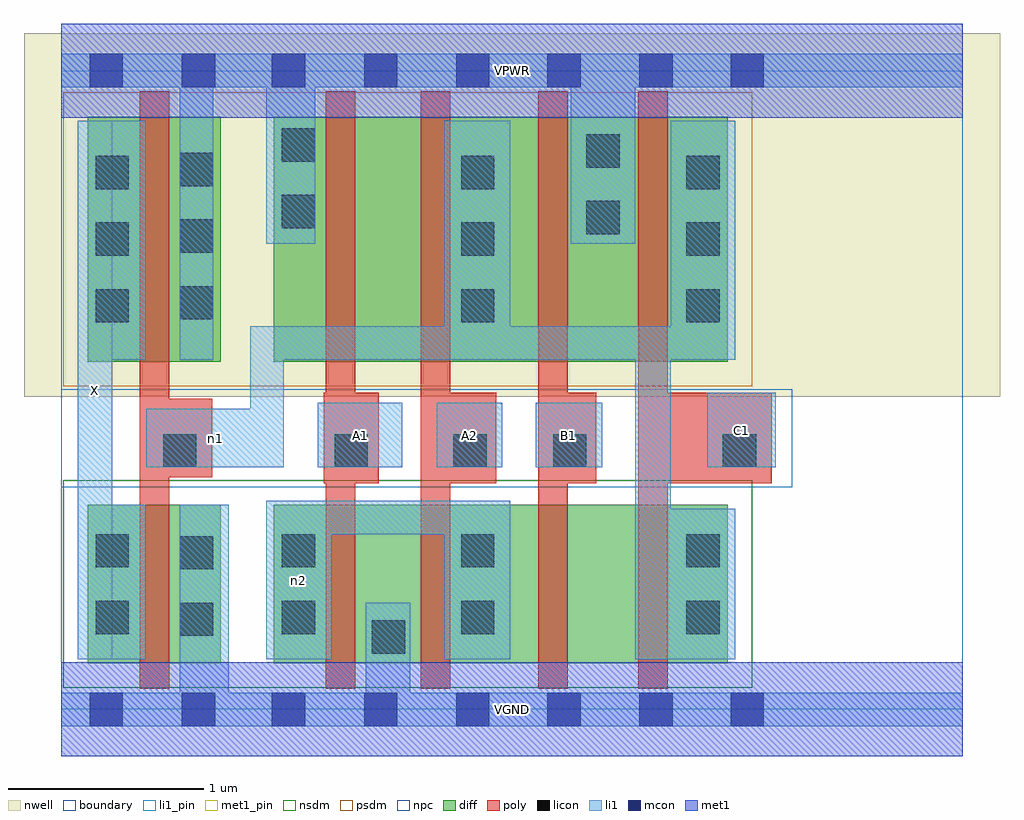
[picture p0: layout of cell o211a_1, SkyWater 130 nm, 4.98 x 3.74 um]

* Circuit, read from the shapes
.subckt o211a_1 A1 A2 B1 C1 VGND VPWR X n1 n2
XM1 VGND n1 X VSUBS sky130_fd_pr__nfet_01v8 w=0.81 l=0.15
XM2 VGND A1 n2 VSUBS sky130_fd_pr__nfet_01v8 w=0.81 l=0.15
XM3 n2 A2 VGND VSUBS sky130_fd_pr__nfet_01v8 w=0.81 l=0.15
XM4 n3 B1 n2 VSUBS sky130_fd_pr__nfet_01v8 w=0.81 l=0.15
XM5 n1 C1 n3 VSUBS sky130_fd_pr__nfet_01v8 w=0.81 l=0.15
XM6 VPWR n1 X n4 sky130_fd_pr__pfet_01v8 w=1.25 l=0.15
XM7 n5 A1 VPWR n4 sky130_fd_pr__pfet_01v8 w=1.25 l=0.15
XM8 n1 A2 n5 n4 sky130_fd_pr__pfet_01v8 w=1.25 l=0.15
XM9 VPWR B1 n1 n4 sky130_fd_pr__pfet_01v8 w=1.25 l=0.15
XM10 n1 C1 VPWR n4 sky130_fd_pr__pfet_01v8 w=1.25 l=0.15
.ends

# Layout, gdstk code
import gdstk
lib = gdstk.Library(unit=1e-6, precision=1e-09)
def R(c, l, rs):  # rectangles x0, y0, x1, y1
    for r in rs: c.add(gdstk.rectangle(r[:2], r[2:], *l))
def A(c, l, x, y, w, h, nx, ny, dx, dy):  # array of equal rectangles
    R(c, l, [(x+i*dx, y+j*dy, x+i*dx+w, y+j*dy+h) for i in range(nx) for j in range(ny)])
nwell = (64, 20)
diff = (65, 20)
poly = (66, 20)
licon = (66, 44)
li1_pin = (67, 16)
li1 = (67, 20)
mcon = (67, 44)
met1_pin = (68, 16)
met1 = (68, 20)
nsdm = (93, 44)
psdm = (94, 20)
npc = (95, 20)
boundary = (235, 4)

o211a_1 = lib.new_cell('o211a_1')
R(o211a_1, nwell, [(-0.19,1.595,4.79,3.45), (0,1.595,4.6,3.45)])
R(o211a_1, diff, [(0.135,0.235,0.815,1.045), (1.085,0.235,3.4,1.045), (0.135,1.775,0.815,3.025), (1.085,1.775,3.4,3.025)])
R(o211a_1, poly, [(0.4,0.105,0.55,3.155), (1.35,0.105,1.5,3.155), (1.835,0.105,1.985,3.155), (2.435,0.105,2.585,3.155), (2.945,0.105,3.095,3.155), (1.34,1.155,1.62,1.615), (1.835,1.155,2.22,1.615), (2.435,1.155,2.73,1.615), (2.945,1.155,3.625,1.615), (0.4,1.185,0.77,1.585)])
A(o211a_1, licon, 0.175, 1.975, 0.17, 0.17, 1, 3, 0, 0.34)
A(o211a_1, licon, 2.04, 1.975, 0.17, 0.17, 1, 3, 0, 0.34)
A(o211a_1, licon, 3.19, 1.975, 0.17, 0.17, 1, 3, 0, 0.34)
A(o211a_1, licon, 0.605, 1.99, 0.17, 0.17, 1, 3, 0, 0.34)
R(o211a_1, licon, [(1.585,0.285,1.755,0.455), (0.605,0.375,0.775,0.545), (0.175,0.385,0.345,0.555), (1.125,0.385,1.295,0.555), (2.04,0.385,2.21,0.555), (3.19,0.385,3.36,0.555), (0.605,0.715,0.775,0.885), (0.175,0.725,0.345,0.895), (1.125,0.725,1.295,0.895), (2.04,0.725,2.21,0.895), (3.19,0.725,3.36,0.895), (0.52,1.235,0.69,1.405), (1.395,1.235,1.565,1.405), (2,1.235,2.17,1.405), (2.51,1.235,2.68,1.405), (3.375,1.235,3.545,1.405), (2.68,2.425,2.85,2.595), (1.125,2.455,1.295,2.625), (2.68,2.765,2.85,2.935), (1.125,2.795,1.295,2.965)])
R(o211a_1, li1_pin, [(0.085,0.255,0.26,3.005), (1.31,1.235,1.74,1.565), (1.915,1.235,2.25,1.565), (2.42,1.235,2.76,1.565), (3.295,1.235,3.645,1.615)])
R(o211a_1, li1, [(0,-0.085,4.6,0.085), (0.605,-0.085,0.855,1.045), (1.555,-0.085,1.78,0.545), (0.085,0.255,0.26,3.005), (0.085,0.255,0.43,1.045), (1.045,0.255,1.38,1.065), (1.955,0.255,2.29,1.065), (2.93,0.255,3.44,1.025), (2.93,0.255,3.11,1.955), (1.045,0.895,2.29,1.065), (0.435,1.235,1.135,1.535), (0.965,1.235,1.135,1.955), (1.31,1.235,1.74,1.565), (1.915,1.235,2.25,1.565), (2.42,1.235,2.76,1.565), (3.295,1.235,3.645,1.615), (0.085,1.785,0.43,3.005), (0.605,1.785,0.775,3.345), (0.965,1.785,3.44,1.955), (1.955,1.785,2.29,3.005), (3.11,1.785,3.44,3.005), (1.045,2.375,1.295,3.345), (2.6,2.375,2.93,3.345), (0,3.175,4.6,3.345)])
A(o211a_1, mcon, 1.075, -0.085, 0.17, 0.17, 3, 2, 0.47, 3.26)
R(o211a_1, mcon, [(0.145,-0.085,0.315,0.085), (0.615,-0.085,0.785,0.085), (2.48,-0.085,2.65,0.085), (2.95,-0.085,3.12,0.085), (3.415,-0.085,3.585,0.085), (0.145,3.175,0.315,3.345), (0.615,3.175,0.785,3.345), (2.48,3.175,2.65,3.345), (2.95,3.175,3.12,3.345), (3.415,3.175,3.585,3.345)])
R(o211a_1, met1_pin, [(0,-0.24,4.6,0.24), (0,3.02,4.6,3.5)])
R(o211a_1, met1, [(0,-0.24,4.6,0.24), (0,3.02,4.6,3.5)])
R(o211a_1, nsdm, [(0.01,0.11,3.525,1.17)])
R(o211a_1, psdm, [(0.01,1.65,3.525,3.15)])
R(o211a_1, npc, [(0,1.135,3.73,1.635)])
R(o211a_1, boundary, [(0,0,4.6,3.26)])
o211a_1.add(gdstk.Label('A1', (1.525,1.4), layer=67, texttype=5))
o211a_1.add(gdstk.Label('A2', (2.082,1.4), layer=67, texttype=5))
o211a_1.add(gdstk.Label('B1', (2.59,1.4), layer=67, texttype=5))
o211a_1.add(gdstk.Label('C1', (3.47,1.425), layer=67, texttype=5))
o211a_1.add(gdstk.Label('X', (0.172,1.63), layer=67, texttype=5))
o211a_1.add(gdstk.Label('n2', (1.212,0.66), layer=67, texttype=5))
o211a_1.add(gdstk.Label('n1', (0.785,1.385), layer=67, texttype=5))
o211a_1.add(gdstk.Label('VPWR', (2.3,3.26), layer=68, texttype=5))
o211a_1.add(gdstk.Label('VGND', (2.3,0), layer=68, texttype=5))
o211a_1.add(gdstk.Label('A1', (1.525,1.4), layer=67, texttype=16))
o211a_1.add(gdstk.Label('A2', (2.082,1.4), layer=67, texttype=16))
o211a_1.add(gdstk.Label('B1', (2.59,1.4), layer=67, texttype=16))
o211a_1.add(gdstk.Label('C1', (3.47,1.425), layer=67, texttype=16))
o211a_1.add(gdstk.Label('X', (0.172,1.63), layer=67, texttype=16))
o211a_1.add(gdstk.Label('VPWR', (2.3,3.26), layer=68, texttype=16))
o211a_1.add(gdstk.Label('VGND', (2.3,0), layer=68, texttype=16))

lib.write_gds('o211a_1.gds')
